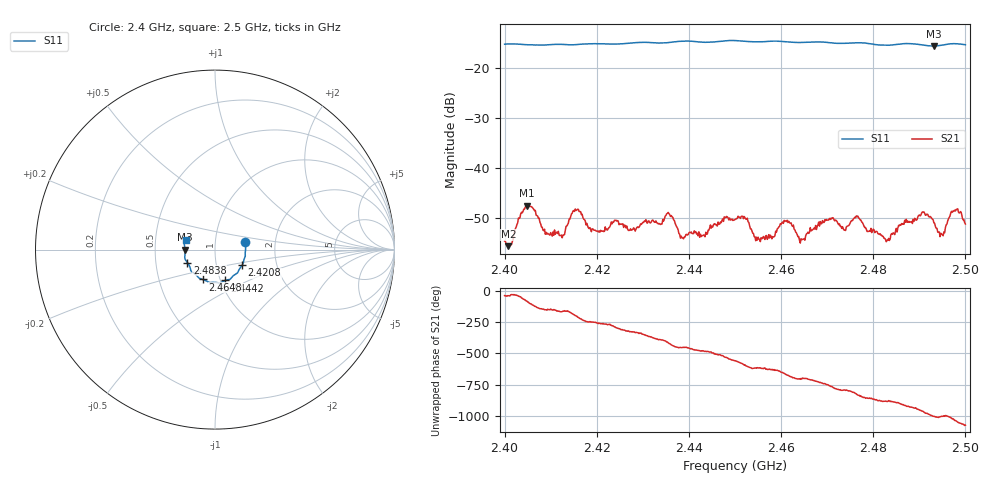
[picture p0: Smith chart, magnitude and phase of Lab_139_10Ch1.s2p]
# Hz S RI R 50
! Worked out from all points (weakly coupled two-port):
!   601 points, 2.4 GHz to 2.5 GHz, reference 50 ohm
!   highest |S21| = -47.58 dB at 2.4048 GHz (marker M1); lowest = -55.7 dB at 2.4008 GHz (marker M2)
!   lowest |S11| = -15.6 dB at 2.4932 GHz (marker M3), VSWR 1.40, Z = 35.8 - j0.0792 ohm
!   |S11| at or under -10 dB: start of sweep to end of sweep
!   S12 and S22 are empty: the file has one direction only
!   S11 on the Smith chart (normalised r, x): 2.4 GHz: 1.40, +0.12; 2.4208 GHz: 1.33, -0.24; 2.4442 GHz: 1.05, -0.37; 2.4648 GHz: 0.83, -0.28; 2.4838 GHz: 0.73, -0.11; 2.5 GHz: 0.72, +0.08
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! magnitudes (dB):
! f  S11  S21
! 2.4 GHz  -15.2  -54.7
! 2.4008 GHz  -15.2  -55.7
! 2.4048 GHz  -15.4  -47.6
! 2.4093 GHz  -15.4  -53.1
! 2.4167 GHz  -15.2  -49.4
! 2.4208 GHz  -15.1  -52.5
! 2.4333 GHz  -15.0  -51.2
! 2.4387 GHz  -14.6  -54.1
! 2.4442 GHz  -14.9  -52.5
! 2.45 GHz  -14.5  -50.4
! 2.455 GHz  -14.8  -53.9
! 2.4612 GHz  -14.8  -50.8
! 2.4648 GHz  -14.9  -54.3
! 2.4667 GHz  -14.8  -52.5
! 2.4765 GHz  -15.0  -49.8
! 2.4833 GHz  -15.5  -54.2
! 2.4838 GHz  -15.4  -53.4
! 2.4905 GHz  -15.4  -49.1
! 2.4932 GHz  -15.6  -51.0
! 2.495 GHz  -15.4  -53.4
! 2.4978 GHz  -15.1  -48.6
! 2.5 GHz  -15.3  -51.3
